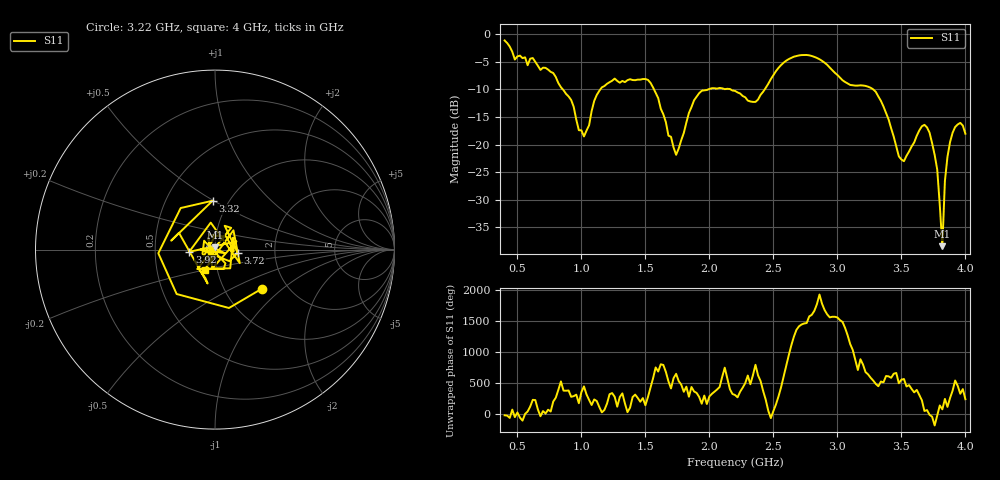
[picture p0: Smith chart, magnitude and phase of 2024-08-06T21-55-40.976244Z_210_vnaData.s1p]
!Created with skrf (http://scikit-rf.org).
# Hz S RI R 50.0
!freq ReS11 ImS11
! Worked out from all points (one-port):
!   181 points, 400 MHz to 4 GHz, reference 50 ohm
!   lowest |S11| = -38.4 dB at 3.82 GHz (marker M1), VSWR 1.02, Z = 50.2 + j1.19 ohm
!   |S11| at or under -10 dB: 855 MHz to 1.148 GHz (293.1 MHz wide, 29.3 % of centre); 1.567 GHz to 1.991 GHz (424.2 MHz wide, 23.8 % of centre); 3.28 GHz to end of sweep (the widest 3 of 4)
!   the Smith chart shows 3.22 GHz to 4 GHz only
!   S11 on the Smith chart (normalised r, x): 3.22 GHz: 1.49, -0.73; 3.32 GHz: 0.84, +0.49; 3.72 GHz: 1.29, -0.05; 3.92 GHz: 0.75, -0.02; 4 GHz: 0.87, -0.20
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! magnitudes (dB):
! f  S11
! 400 MHz  -1.1
! 480 MHz  -4.6
! 620 MHz  -4.3
! 860 MHz  -10.1
! 1.02 GHz  -18.5
! 1.14 GHz  -10.3
! 1.3 GHz  -8.8
! 1.52 GHz  -8.3
! 1.74 GHz  -21.9
! 1.76 GHz  -20.7
! 1.92 GHz  -10.7
! 2.2 GHz  -10.3
! 2.36 GHz  -12.3
! 2.66 GHz  -4.1
! 2.84 GHz  -4.3
! 3.1 GHz  -9.2
! 3.22 GHz  -9.4
! 3.32 GHz  -11.3
! 3.48 GHz  -22.1
! 3.56 GHz  -21.2
! 3.66 GHz  -16.7
! 3.72 GHz  -17.8
! 3.78 GHz  -24.5
! 3.82 GHz  -38.4
! 3.84 GHz  -26.6
! 3.86 GHz  -22.2
! 3.92 GHz  -16.8
! 4 GHz  -18.0
